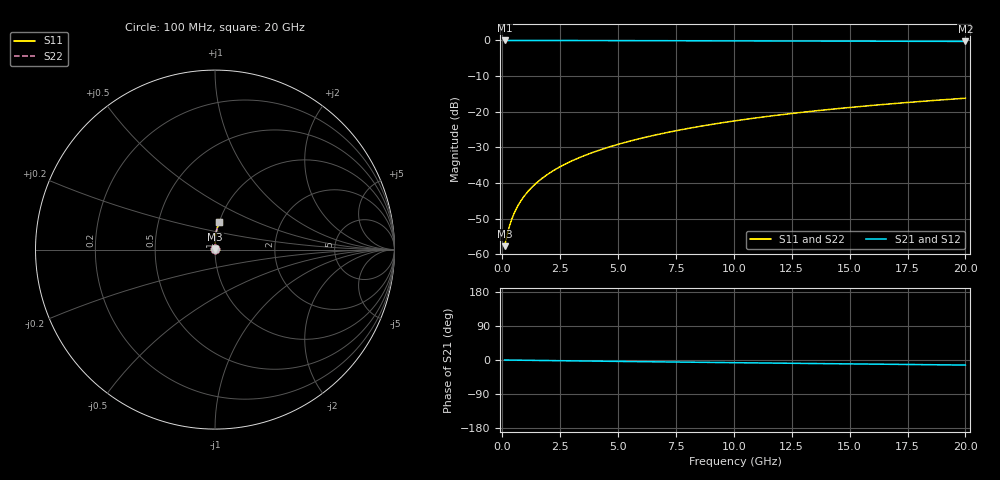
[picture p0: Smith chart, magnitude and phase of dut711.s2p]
! Touchstone file exported from HFSS 2024.1.0
!  File:  C:/UserFiles/LocalFiles/RDL_TSV_Batchsim/temp_RDL_top_711_1779850150.aedt
!  Generated:  10:51:58 AM May 27, 2026
!  Design:  RDL_top
!  Project:  temp_RDL_top_711_1779850150
!  Setup:  Setup1
!  Solution:  Sweep
! Variables:
!  dtsv = 10.80580581um
!  hbump = 3um
!  htsv = 96.74um
!  ldown = 100um
!  lrdl = 144.63um
!  p = 40
!  p1 = 53.82um
!  rhole = 1um
!  t = 450um
!  tdown = 3.915915916um
!  trdl = 2.76um
!  wdown = 15.38538539um
!  wrdl = 24.47um
# GHz S MA R 50.000000
! Terminal data exported
! Port[1] = Box2_T1
! Port[2] = Box2_T2
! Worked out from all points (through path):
!   200 points, 100 MHz to 20 GHz, reference 50 ohm
!   highest |S21| = -0.01 dB at 100 MHz (marker M1); lowest = -0.3 dB at 20 GHz (marker M2)
!   group delay of S21, straight-line fit = 1.84 ps
!   lowest |S11| = -57.8 dB at 100 MHz (marker M3), VSWR 1.00, Z = 50.1 + j0.0727 ohm
!   |S11| at or under -10 dB: start of sweep to end of sweep
!   |S22| runs from -57.8 to -16.2 dB; largest |S21 - S12| = 4.2e-15
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0.1  0.001295 34.1  0.9989 -0.1  0.9989 -0.1  0.001295 34.1
! Gamma 0 0 0 0
! Port Impedance 50 0 50 0
0.2  0.001812 52.4  0.9989 -0.2  0.9989 -0.2  0.001812 52.4
0.3  0.002415 61.7  0.9988 -0.2  0.9988 -0.2  0.002415 61.7
0.4  0.003039 67.2  0.9988 -0.3  0.9988 -0.3  0.003039 67.2
0.5  0.00367 70.8  0.9987 -0.4  0.9987 -0.4  0.00367 70.8
0.6  0.004303 73.5  0.9987 -0.5  0.9987 -0.5  0.004303 73.5
0.8  0.00558 77.2  0.9986 -0.6  0.9986 -0.6  0.00558 77.2
1.1  0.007519 80.6  0.9984 -0.8  0.9984 -0.8  0.007519 80.6
1.3  0.008827 82.2  0.9983 -1.0  0.9983 -1.0  0.008827 82.2
1.6  0.01081 83.9  0.9981 -1.2  0.9981 -1.2  0.01081 83.9
2.1  0.01416 85.8  0.9977 -1.6  0.9977 -1.6  0.01416 85.8
2.7  0.01826 87.3  0.9971 -2.0  0.9971 -2.0  0.01826 87.3
3.5  0.02386 88.5  0.9961 -2.6  0.9961 -2.6  0.02386 88.5
4.2  0.02889 89.2  0.9952 -3.1  0.9952 -3.1  0.02889 89.2
5  0.03478 89.6  0.9939 -3.7  0.9939 -3.7  0.03478 89.6
5.9  0.04158 89.8  0.9925 -4.3  0.9925 -4.3  0.04158 89.8
6.8  0.04852 89.7  0.9909 -5.0  0.9909 -5.0  0.04852 89.7
8.4  0.06116 89.2  0.9881 -6.0  0.9881 -6.0  0.06116 89.2
10.1  0.07484 88.3  0.9852 -7.1  0.9852 -7.1  0.07484 88.3
13.4  0.1016 86.0  0.9795 -9.3  0.9795 -9.3  0.1016 86.0
16.7  0.1283 83.6  0.974 -11.3  0.974 -11.3  0.1283 83.6
20  0.1545 81.1  0.9684 -13.4  0.9684 -13.4  0.1545 81.1
